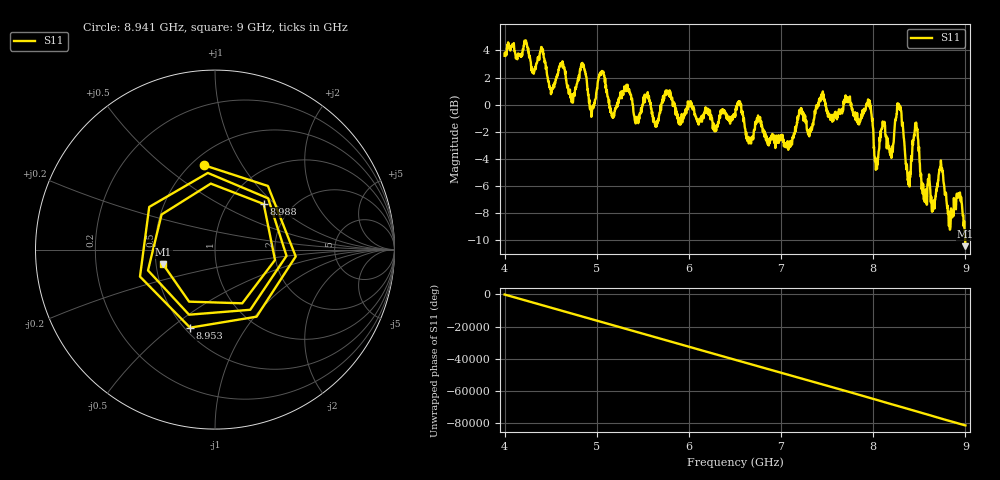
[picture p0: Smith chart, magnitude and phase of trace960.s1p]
! Created with skrf 1.8.0 (http://scikit-rf.org).
# Hz S RI R 50.0
!freq ReS11 ImS11
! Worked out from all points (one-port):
!   1601 points, 4 GHz to 9 GHz, reference 50 ohm
!   lowest |S11| = -10.4 dB at 9 GHz (marker M1), VSWR 1.86, Z = 27.3 - j4.98 ohm
!   |S11| at or under -10 dB: 8.997955 GHz to end of sweep
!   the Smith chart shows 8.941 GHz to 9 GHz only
!   S11 on the Smith chart (normalised r, x): 8.941 GHz: 0.58, +0.70; 8.953 GHz: 0.53, -0.59; 8.988 GHz: 1.45, +0.85; 9 GHz: 0.55, -0.10
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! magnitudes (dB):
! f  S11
! 4 GHz  3.6
! 4.406 GHz  4.0
! 4.509 GHz  0.9
! 4.625 GHz  3.1
! 4.738 GHz  0.5
! 4.853 GHz  2.9
! 4.947 GHz  -0.6
! 5.05 GHz  2.3
! 5.162 GHz  -0.8
! 5.25 GHz  0.5
! 5.875 GHz  -0.7
! 6.5 GHz  -0.7
! 7.125 GHz  -2.4
! 7.438 GHz  0.7
! 7.75 GHz  0.3
! 7.953 GHz  0.3
! 8.038 GHz  -4.7
! 8.197 GHz  -3.9
! 8.284 GHz  -0.2
! 8.375 GHz  -5.6
! 8.462 GHz  -1.5
! 8.559 GHz  -7.2
! 8.734 GHz  -4.1
! 8.834 GHz  -9.2
! 8.941 GHz  -6.5
! 8.953 GHz  -6.8
! 8.988 GHz  -8.6
! 9 GHz  -10.4
